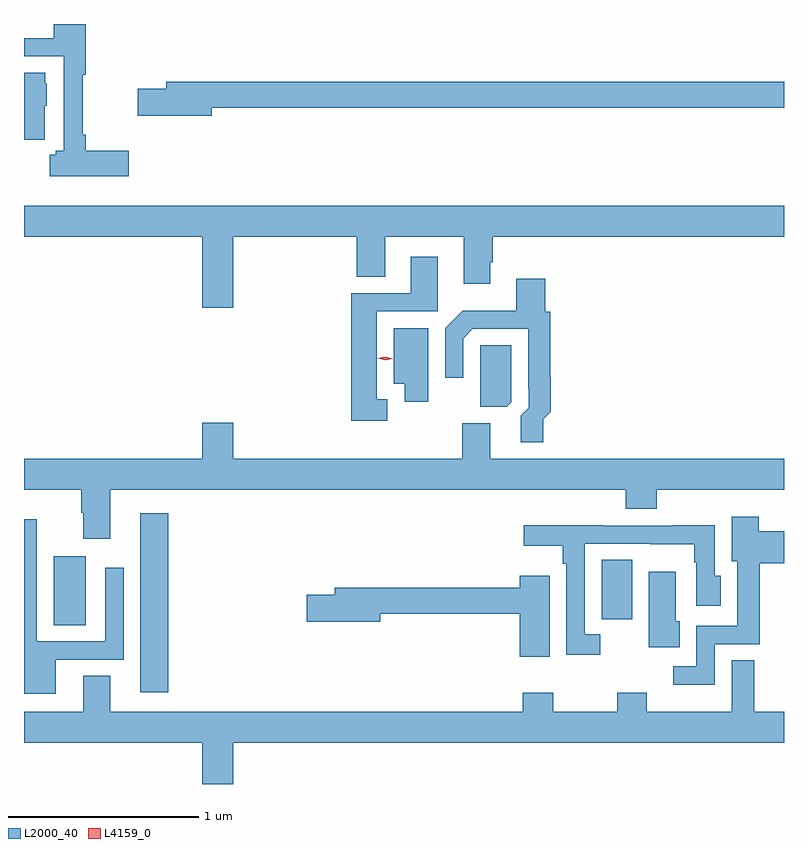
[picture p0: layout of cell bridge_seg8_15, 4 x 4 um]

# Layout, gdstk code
import gdstk
lib = gdstk.Library(unit=1e-6, precision=1e-09)
def R(c, l, rs):  # rectangles x0, y0, x1, y1
    for r in rs: c.add(gdstk.rectangle(r[:2], r[2:], *l))
def P(c, l, *ps):  # polygons
    for p in ps: c.add(gdstk.Polygon(p, *l))
L2000_40 = (2000, 40)
L4159_0 = (4159, 0)

bridge_seg8_15 = lib.new_cell('bridge_seg8_15')
R(bridge_seg8_15, L2000_40, [(967.88,1140.744,968.027,1141.684), (967.424,1141.096,967.591,1141.459), (970.307,1141.128,970.468,1141.439)])
P(bridge_seg8_15, L2000_40, [(967.819,1143.593),(967.592,1143.593),(967.592,1143.676),(967.577,1143.676),(967.577,1143.992),(967.592,1143.992),(967.592,1144.26),(967.424,1144.26),(967.424,1144.185),(967.267,1144.185),(967.267,1144.089),(967.476,1144.089),(967.476,1143.593),(967.434,1143.593),(967.434,1143.572),(967.403,1143.572),(967.403,1143.458),(967.819,1143.458)],
  [(967.377,1143.831),(967.387,1143.831),(967.387,1143.945),(967.378,1143.945),(967.378,1144.004),(967.267,1144.004),(967.267,1143.651),(967.377,1143.651)],
  [(968.254,1143.82),(971.267,1143.82),(971.267,1143.956),(968.015,1143.956),(968.015,1143.92),(967.866,1143.92),(967.866,1143.778),(968.254,1143.778)],
  [(968.368,1143.14),(969.017,1143.14),(969.017,1142.929),(969.169,1142.929),(969.169,1143.14),(969.581,1143.14),(969.581,1142.892),(969.721,1142.892),(969.721,1143.007),(969.734,1143.007),(969.734,1143.14),(971.267,1143.14),(971.267,1143.304),(967.267,1143.304),(967.267,1143.14),(968.204,1143.14),(968.204,1142.766),(968.368,1142.766)],
  [(969.178,1142.285),(969.124,1142.285),(969.124,1142.748),(969.445,1142.748),(969.445,1143.034),(969.302,1143.034),(969.302,1142.844),(968.99,1142.844),(968.99,1142.172),(969.178,1142.172)],
  [(970.001,1142.181),(970.04,1142.22),(970.04,1142.402),(970.037,1142.402),(970.037,1142.745),(970.01,1142.745),(970.01,1142.92),(969.857,1142.92),(969.857,1142.752),(969.577,1142.752),(969.483,1142.658),(969.483,1142.397),(969.579,1142.397),(969.579,1142.604),(969.63,1142.655),(969.921,1142.655),(969.921,1142.341),(969.924,1142.341),(969.924,1142.241),(969.881,1142.198),(969.881,1142.058),(970.001,1142.058)],
  [(969.394,1142.659),(969.212,1142.659),(969.212,1142.366),(969.272,1142.366),(969.272,1142.271),(969.394,1142.271)],
  [(969.831,1142.268),(969.831,1142.57),(969.669,1142.57),(969.669,1142.459),(969.668,1142.459),(969.668,1142.245),(969.807,1142.245)],
  [(967.72,1141.808),(970.433,1141.808),(970.433,1141.709),(970.598,1141.709),(970.598,1141.808),(971.267,1141.808),(971.267,1141.972),(969.721,1141.972),(969.721,1142.16),(969.574,1142.16),(969.574,1141.972),(968.368,1141.972),(968.368,1142.161),(968.204,1142.161),(968.204,1141.972),(967.267,1141.972),(967.267,1141.808),(967.568,1141.808),(967.568,1141.688),(967.58,1141.688),(967.58,1141.551),(967.72,1141.551)],
  [(970.902,1140.996),(971.14,1140.996),(971.14,1141.421),(971.267,1141.421),(971.267,1141.591),(971.135,1141.591),(971.135,1141.666),(970.991,1141.666),(970.991,1141.433),(971.021,1141.433),(971.021,1141.092),(970.806,1141.092),(970.806,1140.879),(970.683,1140.879),(970.683,1140.782),(970.902,1140.782)],
  [(967.435,1140.915),(967.791,1140.915),(967.791,1141.399),(967.695,1141.399),(967.695,1141.011),(967.335,1141.011),(967.335,1141.654),(967.267,1141.654),(967.267,1140.734),(967.435,1140.734)],
  [(970.3,1141.047),(970.218,1141.047),(970.218,1141.524),(970.564,1141.524),(970.564,1141.523),(970.794,1141.523),(970.794,1141.427),(970.806,1141.427),(970.806,1141.197),(970.933,1141.197),(970.933,1141.356),(970.902,1141.356),(970.902,1141.622),(970.681,1141.622),(970.681,1141.62),(970.315,1141.62),(970.315,1141.622),(969.897,1141.622),(969.897,1141.514),(970.102,1141.514),(970.102,1141.418),(970.122,1141.418),(970.122,1140.939),(970.3,1140.939)],
  [(970.717,1141.116),(970.696,1141.116),(970.696,1141.378),(970.556,1141.378),(970.556,1140.98),(970.717,1140.98)],
  [(970.033,1141.357),(969.875,1141.357),(969.875,1141.292),(968.903,1141.292),(968.903,1141.256),(968.754,1141.256),(968.754,1141.114),(969.142,1141.114),(969.142,1141.156),(969.875,1141.156),(969.875,1140.93),(970.033,1140.93)],
  [(968.368,1140.476),(971.267,1140.476),(971.267,1140.64),(971.11,1140.64),(971.11,1140.911),(970.991,1140.911),(970.991,1140.64),(970.545,1140.64),(970.545,1140.739),(970.39,1140.739),(970.39,1140.64),(970.053,1140.64),(970.053,1140.739),(969.893,1140.739),(969.893,1140.64),(967.72,1140.64),(967.72,1140.83),(967.58,1140.83),(967.58,1140.64),(967.267,1140.64),(967.267,1140.476),(968.204,1140.476),(968.204,1140.26),(968.368,1140.26)])
P(bridge_seg8_15, L4159_0, [(969.167,1142.489),(969.128,1142.5),(969.128,1142.5),(969.128,1142.501),(969.168,1142.509),(969.208,1142.498),(969.208,1142.498),(969.208,1142.498)])

lib.write_gds('bridge_seg8_15.gds')
